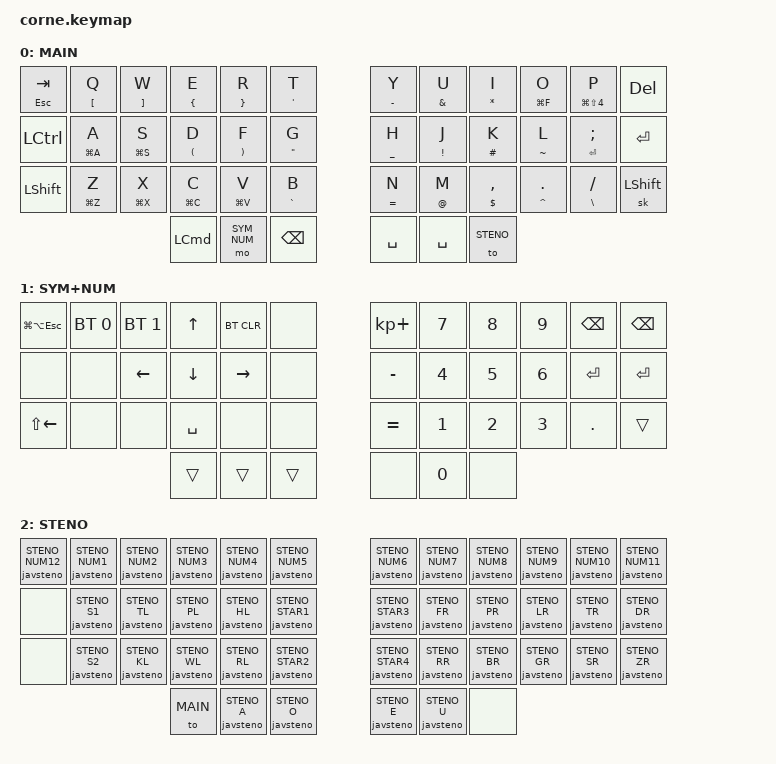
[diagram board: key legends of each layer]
#include <behaviors.dtsi>
#include <dt-bindings/zmk/keys.h>
#include <dt-bindings/zmk/bt.h>
#include <behaviors/javelin_steno.dtsi>
#include <dt-bindings/zmk/javelin_steno.h>

#define MAIN 0
#define SYM_NUM 1
#define STENO 2

/ {
    chosen {
        zmk,physical-layout = &foostan_corne_6col_layout;
    };
};

&sk {
    release-after-ms = <2000>;
    quick-release;
};

/ {
    behaviors {
        ht: hold_tap {
            compatible = "zmk,behavior-hold-tap";
            #binding-cells = <2>;
            flavor = "tap-preferred";
            tapping-term-ms = <200>;
            quick-tap-ms = <125>;
            require-prior-idle-ms = <125>;
            bindings = <&kp>, <&kp>;
        };
    };

    keymap {
        compatible = "zmk,keymap";

        main_layer {
            display-name = "MAIN";
            // ht parameters: hold first, tap second. Editing shortcuts use Command.
            bindings = <
&ht ESC TAB  &ht LBKT Q   &ht RBKT W   &ht LBRC E   &ht RBRC R   &ht SQT T       &ht MINUS Y &ht AMPS U &ht STAR I     &ht LG(F) O   &ht LG(LS(N4)) P &kp DEL
&kp LCTRL    &ht LG(A) A  &ht LG(S) S  &ht LPAR D   &ht RPAR F   &ht DQT G       &ht UNDER H &ht EXCL J &ht HASH K     &ht TILDE L   &ht RET SEMI     &kp RET
&kp LSHIFT   &ht LG(Z) Z  &ht LG(X) X  &ht LG(C) C  &ht LG(V) V  &ht GRAVE B     &ht EQUAL N &ht AT M   &ht DLLR COMMA &ht CARET DOT &ht BSLH FSLH    &sk LSHIFT
                                      &kp LCMD &mo SYM_NUM &kp BSPC          &kp SPACE &kp SPACE &to STENO
            >;
        };

        sym_num_layer {
            display-name = "SYM+NUM";
            // Voyager LED positions Q/W/R retain Zen Bluetooth controls.
            // Profile indices 0/1 correspond to the first/second host slots.
            bindings = <
&kp LG(LA(ESC)) &bt BT_SEL 0 &bt BT_SEL 1 &kp UP    &bt BT_CLR &none           &kp KP_PLUS &kp N7 &kp N8 &kp N9 &kp BSPC &kp BSPC
&none          &none        &kp LEFT    &kp DOWN  &kp RIGHT  &none           &kp MINUS   &kp N4 &kp N5 &kp N6 &kp RET  &kp RET
&kp LS(LEFT)   &none        &none       &kp SPACE &none      &none           &kp EQUAL   &kp N1 &kp N2 &kp N3 &kp DOT  &trans
                                      &trans &trans &trans                 &none &kp N0 &none
            >;
        };

        steno_layer {
            display-name = "STENO";
            // Onboard Javelin; physical steno positions preserved from the Zen keymap.
            bindings = <
&javsteno STENO_NUM12 &javsteno STENO_NUM1  &javsteno STENO_NUM2 &javsteno STENO_NUM3 &javsteno STENO_NUM4 &javsteno STENO_NUM5    &javsteno STENO_NUM6 &javsteno STENO_NUM7 &javsteno STENO_NUM8 &javsteno STENO_NUM9 &javsteno STENO_NUM10 &javsteno STENO_NUM11
&none        &javsteno STENO_S1  &javsteno STENO_TL  &javsteno STENO_PL  &javsteno STENO_HL  &javsteno STENO_STAR1     &javsteno STENO_STAR3 &javsteno STENO_FR  &javsteno STENO_PR  &javsteno STENO_LR  &javsteno STENO_TR  &javsteno STENO_DR
&none        &javsteno STENO_S2 &javsteno STENO_KL  &javsteno STENO_WL  &javsteno STENO_RL  &javsteno STENO_STAR2    &javsteno STENO_STAR4 &javsteno STENO_RR  &javsteno STENO_BR  &javsteno STENO_GR  &javsteno STENO_SR  &javsteno STENO_ZR
                                      &to MAIN &javsteno STENO_A &javsteno STENO_O               &javsteno STENO_E &javsteno STENO_U &none
            >;
        };
    };
};
